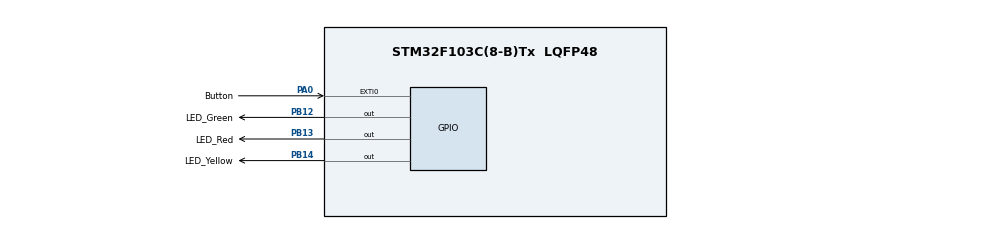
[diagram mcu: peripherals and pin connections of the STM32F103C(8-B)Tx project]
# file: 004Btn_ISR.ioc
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Mcu.Family=STM32F1
Mcu.Name=STM32F103C(8-B)Tx
Mcu.Package=LQFP48
NVIC.EXTI0_IRQn=true\:6\:0\:true\:false\:true\:true\:true
NVIC.PriorityGroup=NVIC_PRIORITYGROUP_4
NVIC.TIM1_UP_IRQn=true\:15\:0\:false\:false\:true\:false\:true
NVIC.TimeBase=TIM1_UP_IRQn
NVIC.TimeBaseIP=TIM1
PA0-WKUP.GPIO_Label=Button
PA0-WKUP.GPIO_ModeDefaultEXTI=GPIO_MODE_IT_FALLING
PA0-WKUP.Signal=GPXTI0
PA13.Mode=Serial_Wire
PA13.Signal=SYS_JTMS-SWDIO
PA14.Mode=Serial_Wire
PA14.Signal=SYS_JTCK-SWCLK
PB12.GPIO_Label=LED_Green
PB12.Signal=GPIO_Output
PB13.GPIO_Label=LED_Red
PB13.Signal=GPIO_Output
PB14.GPIO_Label=LED_Yellow
PB14.Signal=GPIO_Output
ProjectManager.HeapSize=0x200
ProjectManager.StackSize=0x400
ProjectManager.TargetToolchain=STM32CubeIDE
RCC.APB1Freq_Value=8000000
RCC.APB2Freq_Value=8000000
VP_SYS_VS_tim1.Mode=TIM1
board=custom

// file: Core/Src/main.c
/* USER CODE BEGIN Header */
/**
 ******************************************************************************
 * @file           : main.c
 * @brief          : Main program body
 ******************************************************************************
 * @attention
 *
 * Copyright (c) 2022 STMicroelectronics.
 * All rights reserved.
 *
 * This software is licensed under terms that can be found in the LICENSE file
 * in the root directory of this software component.
 * If no LICENSE file comes with this software, it is provided AS-IS.
 *
 ******************************************************************************
 */
/* USER CODE END Header */
#include "main.h"

/* USER CODE BEGIN PV */
TaskHandle_t ledG_handle, ledR_handle, ledY_handle, ledB_handle, btn_handle;
TaskHandle_t volatile nxt_task_handle = NULL;
BaseType_t status;
/* USER CODE END PV */

void SystemClock_Config(void);
static void MX_GPIO_Init(void);
/* USER CODE BEGIN PFP */
void ledRed_handler(void *pvParameters);
void ledYellow_handler(void *pvParameters);
void ledGreen_handler(void *pvParameters);
/* USER CODE END PFP */

int main(void)
{

	/* MCU Configuration--------------------------------------------------------*/

	/* Reset of all peripherals, Initializes the Flash interface and the Systick. */
	HAL_Init();

	/* Configure the system clock */
	SystemClock_Config();

	/* Initialize all configured peripherals */
	MX_GPIO_Init();
	/* USER CODE BEGIN 2 */
	DWT_CTRL |= (1 << 0);

	status = xTaskCreate(ledGreen_handler, "LED_Green_Task", 50, NULL, 4, &ledG_handle);

	configASSERT(status == pdPASS);

	nxt_task_handle = ledG_handle;

	status = xTaskCreate(ledYellow_handler, "LED_Yellow_Task", 50, NULL, 3, &ledY_handle);

	configASSERT(status == pdPASS);

	status = xTaskCreate(ledRed_handler, "LED_Red_Task", 50, NULL, 2, &ledR_handle);

	configASSERT(status == pdPASS);

	vTaskStartScheduler();
	/* USER CODE END 2 */

	/* Infinite loop */
	while (1)
	{

	}
}

void SystemClock_Config(void)
{
	RCC_OscInitTypeDef RCC_OscInitStruct = {0};
	RCC_ClkInitTypeDef RCC_ClkInitStruct = {0};

	/** Initializes the RCC Oscillators according to the specified parameters
	 * in the RCC_OscInitTypeDef structure.
	 */
	RCC_OscInitStruct.OscillatorType = RCC_OSCILLATORTYPE_HSI;
	RCC_OscInitStruct.HSIState = RCC_HSI_ON;
	RCC_OscInitStruct.HSICalibrationValue = RCC_HSICALIBRATION_DEFAULT;
	RCC_OscInitStruct.PLL.PLLState = RCC_PLL_NONE;
	if (HAL_RCC_OscConfig(&RCC_OscInitStruct) != HAL_OK)
	{
		Error_Handler();
	}
	/** Initializes the CPU, AHB and APB buses clocks
	 */
	RCC_ClkInitStruct.ClockType = RCC_CLOCKTYPE_HCLK|RCC_CLOCKTYPE_SYSCLK
			|RCC_CLOCKTYPE_PCLK1|RCC_CLOCKTYPE_PCLK2;
	RCC_ClkInitStruct.SYSCLKSource = RCC_SYSCLKSOURCE_HSI;
	RCC_ClkInitStruct.AHBCLKDivider = RCC_SYSCLK_DIV1;
	RCC_ClkInitStruct.APB1CLKDivider = RCC_HCLK_DIV1;
	RCC_ClkInitStruct.APB2CLKDivider = RCC_HCLK_DIV1;

	if (HAL_RCC_ClockConfig(&RCC_ClkInitStruct, FLASH_LATENCY_0) != HAL_OK)
	{
		Error_Handler();
	}
}

static void MX_GPIO_Init(void)
{
	GPIO_InitTypeDef GPIO_InitStruct = {0};

	/* GPIO Ports Clock Enable */
	__HAL_RCC_GPIOA_CLK_ENABLE();
	__HAL_RCC_GPIOB_CLK_ENABLE();

	/*Configure GPIO pin Output Level */
	HAL_GPIO_WritePin(GPIOB, LED_Green_Pin|LED_Red_Pin|LED_Yellow_Pin, GPIO_PIN_RESET);

	/*Configure GPIO pin : Button_Pin */
	GPIO_InitStruct.Pin = Button_Pin;
	GPIO_InitStruct.Mode = GPIO_MODE_IT_FALLING;
	GPIO_InitStruct.Pull = GPIO_NOPULL;
	HAL_GPIO_Init(Button_GPIO_Port, &GPIO_InitStruct);

	/*Configure GPIO pins : LED_Green_Pin LED_Red_Pin LED_Yellow_Pin */
	GPIO_InitStruct.Pin = LED_Green_Pin|LED_Red_Pin|LED_Yellow_Pin;
	GPIO_InitStruct.Mode = GPIO_MODE_OUTPUT_PP;
	GPIO_InitStruct.Pull = GPIO_NOPULL;
	GPIO_InitStruct.Speed = GPIO_SPEED_FREQ_LOW;
	HAL_GPIO_Init(GPIOB, &GPIO_InitStruct);

	/* EXTI interrupt init*/
	HAL_NVIC_SetPriority(EXTI0_IRQn, 6, 0);
	HAL_NVIC_EnableIRQ(EXTI0_IRQn);

}

/* USER CODE BEGIN 4 */
void btn_it_handler(void){

	BaseType_t xHigherPriorityTaskWoken;
	xHigherPriorityTaskWoken = pdFALSE;

	traceISR_ENTER();
	xTaskNotifyFromISR(nxt_task_handle, 0, eNoAction, &xHigherPriorityTaskWoken);

	portYIELD_FROM_ISR(xHigherPriorityTaskWoken);

	traceISR_EXIT();

}
void ledGreen_handler(void *pvParameters){

	//TickType_t delay = pdMS_TO_TICKS(1200), initTask = xTaskGetTickCount();
	BaseType_t status;
	while(1){

		HAL_GPIO_TogglePin(LED_Green_GPIO_Port, LED_Green_Pin);
		//HAL_Delay(1000);
		//vTaskDelay(delay);
		//vTaskDelayUntil(&initTask, delay);
		status = xTaskNotifyWait(0, 0, NULL, pdMS_TO_TICKS(1200));
		if(status == pdTRUE){
			portENTER_CRITICAL();
			nxt_task_handle = ledR_handle;
			HAL_GPIO_WritePin(LED_Green_GPIO_Port, LED_Green_Pin, GPIO_PIN_SET);
			portEXIT_CRITICAL();
			vTaskDelete(NULL);
		}
	}

}
void ledYellow_handler(void *pvParameters){

	//TickType_t delay = pdMS_TO_TICKS(900), initTask = xTaskGetTickCount();
	BaseType_t status;
	while(1){

		HAL_GPIO_TogglePin(LED_Yellow_GPIO_Port, LED_Yellow_Pin);
		//HAL_Delay(800);
		//vTaskDelay(delay);
		//vTaskDelayUntil(&initTask, delay);
		status = xTaskNotifyWait(0, 0, NULL, pdMS_TO_TICKS(900));
		if(status == pdTRUE){
			portENTER_CRITICAL();
			nxt_task_handle = ledB_handle;
			HAL_GPIO_WritePin(LED_Yellow_GPIO_Port, LED_Yellow_Pin, GPIO_PIN_SET);
			portEXIT_CRITICAL();
			vTaskDelete(NULL);
		}
	}
}
void ledRed_handler(void *pvParameters){

	//TickType_t delay = pdMS_TO_TICKS(600), initTask = xTaskGetTickCount();
	BaseType_t status;
	while(1){
		//SEGGER_SYSVIEW_PrintfTarget("teste");

		HAL_GPIO_TogglePin(LED_Red_GPIO_Port, LED_Red_Pin);
		//HAL_Delay(400);
		//vTaskDelay(delay);
		//vTaskDelayUntil(&initTask, delay);
		status = xTaskNotifyWait(0, 0, NULL, pdMS_TO_TICKS(600));
		if(status == pdTRUE){
			portENTER_CRITICAL();
			nxt_task_handle = ledY_handle;
			HAL_GPIO_WritePin(LED_Red_GPIO_Port, LED_Red_Pin, GPIO_PIN_SET);
			portEXIT_CRITICAL();
			vTaskDelete(NULL);
		}
	}
}

/* USER CODE END 4 */

void HAL_TIM_PeriodElapsedCallback(TIM_HandleTypeDef *htim)
{
	if (htim->Instance == TIM1) {
		HAL_IncTick();
	}
}

void Error_Handler(void)
{
	__disable_irq();
	while (1)
	{
	}
}
